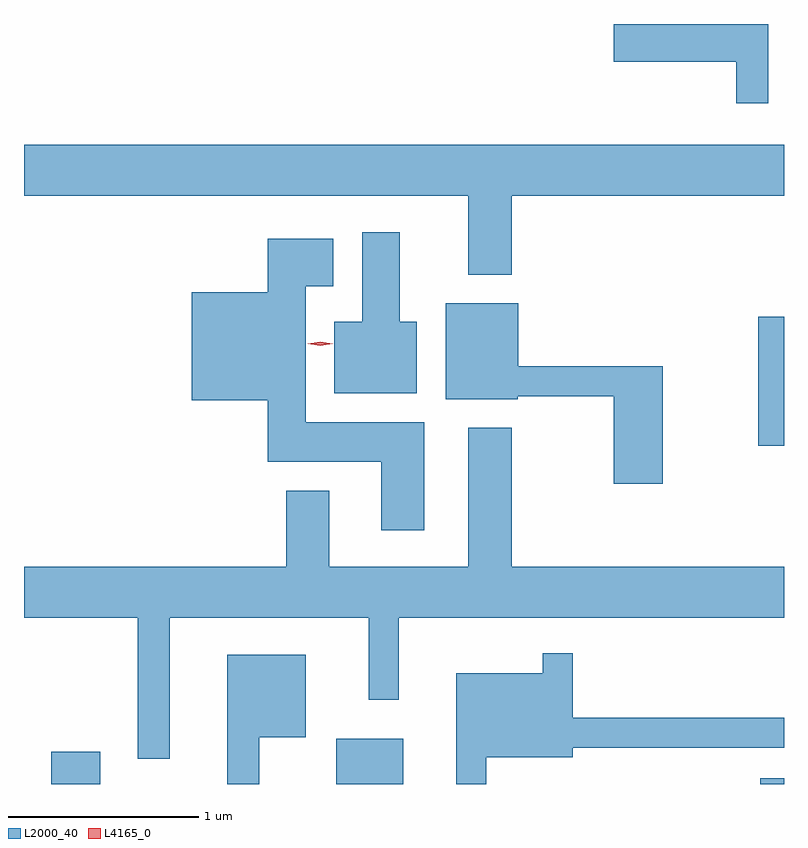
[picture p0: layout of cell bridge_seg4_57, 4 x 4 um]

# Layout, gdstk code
import gdstk
lib = gdstk.Library(unit=1e-6, precision=1e-09)
def R(c, l, rs):  # rectangles x0, y0, x1, y1
    for r in rs: c.add(gdstk.rectangle(r[:2], r[2:], *l))
def P(c, l, *ps):  # polygons
    for p in ps: c.add(gdstk.Polygon(p, *l))
L2000_40 = (2000, 40)
L4165_0 = (4165, 0)

bridge_seg4_57 = lib.new_cell('bridge_seg4_57')
R(bridge_seg4_57, L2000_40, [(1302.326,1367.12,1302.584,1367.289), (1303.826,1367.12,1304.179,1367.359), (1306.056,1367.12,1306.182,1367.149), (1306.046,1368.901,1306.182,1369.579)])
P(bridge_seg4_57, L2000_40, [(1306.099,1371.12),(1305.521,1371.12),(1305.521,1371.119),(1305.286,1371.119),(1305.286,1370.921),(1305.931,1370.921),(1305.931,1370.703),(1306.099,1370.703)],
  [(1304.749,1370.216),(1306.182,1370.216),(1306.182,1370.484),(1302.182,1370.484),(1302.182,1370.216),(1304.521,1370.216),(1304.521,1369.801),(1304.749,1369.801)],
  [(1304.249,1369.554),(1304.159,1369.554),(1304.159,1370.024),(1303.961,1370.024),(1303.961,1369.554),(1303.816,1369.554),(1303.816,1369.176),(1304.249,1369.176)],
  [(1304.289,1369.024),(1303.664,1369.024),(1303.664,1369.741),(1303.809,1369.741),(1303.809,1369.989),(1303.466,1369.989),(1303.466,1369.709),(1303.066,1369.709),(1303.066,1369.141),(1303.466,1369.141),(1303.466,1368.816),(1304.061,1368.816),(1304.061,1368.456),(1304.289,1368.456)],
  [(1305.544,1369.319),(1304.784,1369.319),(1304.784,1369.649),(1304.401,1369.649),(1304.401,1369.146),(1304.78,1369.146),(1304.78,1369.161),(1305.286,1369.161),(1305.286,1368.701),(1305.544,1368.701)],
  [(1302.949,1367.996),(1303.996,1367.996),(1303.996,1367.563),(1304.154,1367.563),(1304.154,1367.996),(1306.182,1367.996),(1306.182,1368.264),(1304.749,1368.264),(1304.749,1368.994),(1304.521,1368.994),(1304.521,1368.264),(1303.789,1368.264),(1303.789,1368.664),(1303.561,1368.664),(1303.561,1368.264),(1302.182,1368.264),(1302.182,1367.996),(1302.781,1367.996),(1302.781,1367.253),(1302.949,1367.253)],
  [(1304.614,1367.261),(1305.069,1367.261),(1305.069,1367.311),(1306.182,1367.311),(1306.182,1367.469),(1305.069,1367.469),(1305.069,1367.808),(1304.911,1367.808),(1304.911,1367.704),(1304.456,1367.704),(1304.456,1367.12),(1304.614,1367.12)],
  [(1303.419,1367.366),(1303.664,1367.366),(1303.664,1367.799),(1303.251,1367.799),(1303.251,1367.12),(1303.419,1367.12)])
P(bridge_seg4_57, L4165_0, [(1303.742,1369.427),(1303.676,1369.437),(1303.676,1369.437),(1303.676,1369.438),(1303.742,1369.447),(1303.808,1369.438),(1303.808,1369.437),(1303.808,1369.437)])

lib.write_gds('bridge_seg4_57.gds')
